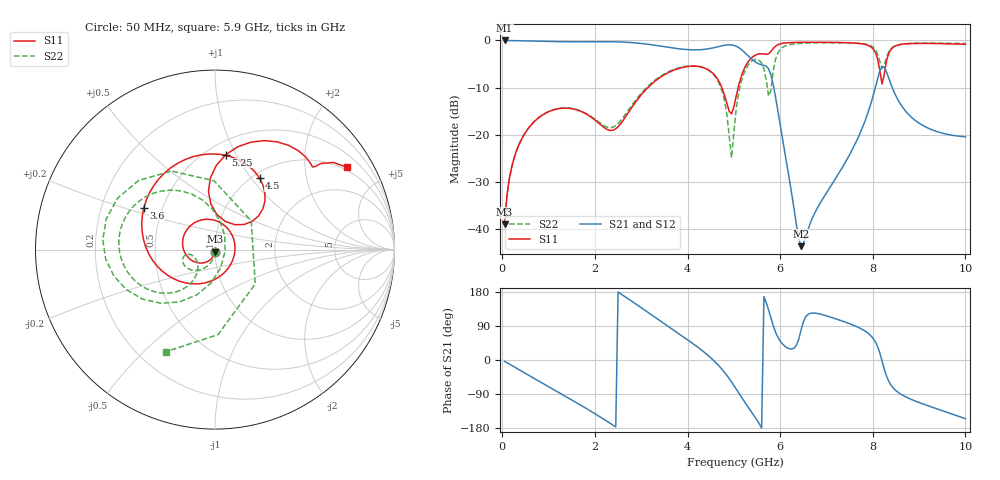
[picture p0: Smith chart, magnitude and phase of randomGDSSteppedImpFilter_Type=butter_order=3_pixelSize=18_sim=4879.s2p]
! freq	dB(S11)	phase(S11)	dB(S12)	phase(S12)
!  dB(S21)	phase(S21)	dB(S22)	phase(S22)
!S-par simulation data
#  GHz  S  DB  R 50
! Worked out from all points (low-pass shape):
!   200 points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, 50 MHz to 10 GHz, reference 50 ohm
!   highest |S21| = -0.01 dB at 50 MHz (marker M1); lowest = -43.6 dB at 6.45 GHz (marker M2)
!   |S21| within 3 dB of the highest: start of sweep to 5.282 GHz
!   lowest |S11| = -38.9 dB at 50 MHz (marker M3), VSWR 1.02, Z = 49.9 - j1.13 ohm
!   |S11| at or under -10 dB: start of sweep to 3.143 GHz; 4.74 GHz to 5.093 GHz (353.4 MHz wide, 7.19 % of centre)
!   |S22| runs from -38.9 to -0.5 dB; largest |S21 - S12| = 0
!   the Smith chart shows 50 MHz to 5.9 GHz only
!   S11 on the Smith chart (normalised r, x): 50 MHz: 1.00, -0.02; 3.6 GHz: 0.39, +0.23; 4.5 GHz: 1.08, +1.10; 5.25 GHz: 0.62, +0.91; 5.9 GHz: 0.88, +3.28
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0.05  -38.93 -92.7  -0.01 -3.6  -0.01 -3.6  -38.91 -90.8
0.55  -18.81 -139.5  -0.11 -38.8  -0.11 -38.8  -18.77 -118.8
1.75  -15.26 101.7  -0.28 -123.3  -0.28 -123.3  -15.19 -168.5
2.55  -17.73 -58.1  -0.32 175.3  -0.32 175.3  -17.07 -133.0
3.4  -7.89 171.8  -1.18 104.2  -1.18 104.2  -7.69 -145.5
3.6  -6.75 149.5  -1.48 87.3  -1.48 87.3  -6.58 -156.5
4.5  -6.57 58.1  -1.69 6.0  -1.69 6.0  -6.64 137.7
4.8  -11.65 37.2  -1.03 -32.8  -1.03 -32.8  -12.82 94.3
4.95  -15.54 70.0  -0.96 -57.9  -0.96 -57.9  -24.86 -7.6
5.05  -11.85 95.2  -1.24 -76.4  -1.24 -76.4  -14.60 -96.5
5.25  -5.47 83.5  -2.70 -114.0  -2.70 -114.0  -6.22 -145.6
5.5  -2.97 54.9  -4.80 -158.5  -4.80 -158.5  -4.02 164.2
5.65  -2.89 42.3  -5.28 167.4  -5.28 167.4  -6.02 119.0
5.8  -2.36 39.1  -7.26 111.1  -7.26 111.1  -10.61 -40.4
5.9  -1.23 31.9  -11.98 73.7  -11.98 73.7  -4.01 -115.6
6.1  -0.55 13.9  -23.66 36.4  -23.66 36.4  -1.22 -167.1
6.45  -0.40 -9.1  -43.59 78.2  -43.59 78.2  -0.62 157.5
6.7  -0.39 -22.7  -37.55 123.8  -37.55 123.8  -0.53 141.5
7.7  -0.65 -71.0  -20.23 85.4  -20.23 85.4  -0.61 90.2
8.1  -3.72 -102.9  -8.26 36.7  -8.26 36.7  -2.78 61.8
8.35  -2.62 -60.3  -8.13 -57.5  -8.13 -57.5  -2.35 86.4
10  -0.82 -139.2  -20.41 -154.9  -20.41 -154.9  -0.65 1.2
